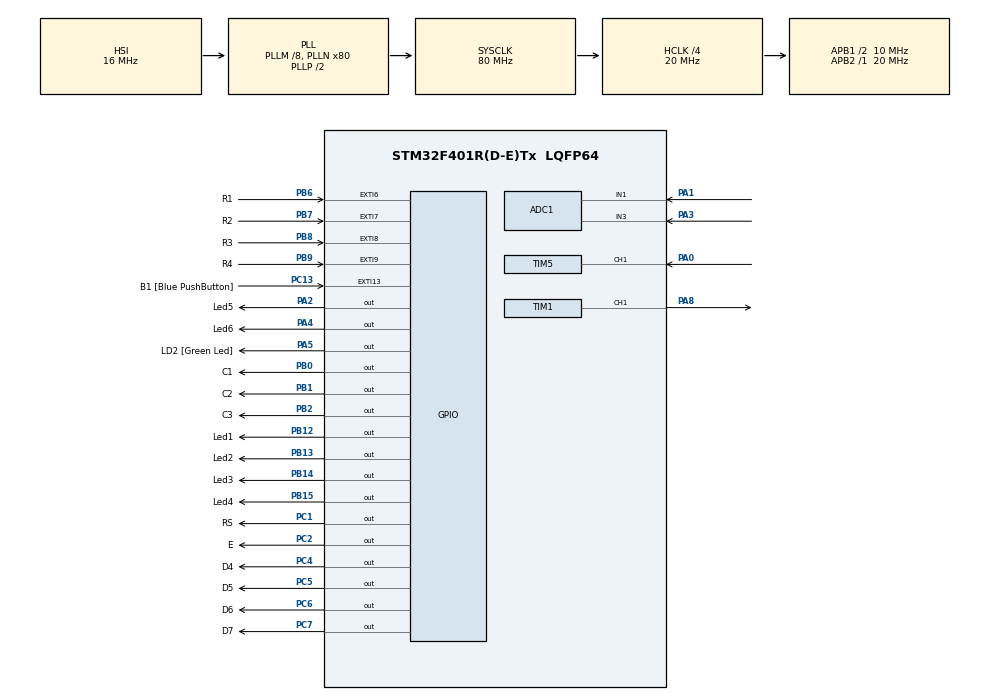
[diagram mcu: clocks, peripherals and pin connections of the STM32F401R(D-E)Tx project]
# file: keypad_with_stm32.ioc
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ADC1.Channel-1\#ChannelRegularConversion=ADC_CHANNEL_1
ADC1.NbrOfConversionFlag=1
ADC1.Rank-1\#ChannelRegularConversion=1
ADC1.SamplingTime-1\#ChannelRegularConversion=ADC_SAMPLETIME_480CYCLES
ADC1.master=1
Mcu.Family=STM32F4
Mcu.Name=STM32F401R(D-E)Tx
Mcu.Package=LQFP64
NVIC.ADC_IRQn=true\:0\:0\:false\:false\:true\:true\:true\:true
NVIC.EXTI9_5_IRQn=true\:4\:0\:true\:false\:true\:true\:true\:true
NVIC.PriorityGroup=NVIC_PRIORITYGROUP_4
NVIC.TIM1_UP_TIM10_IRQn=true\:0\:0\:false\:false\:true\:true\:true\:true
NVIC.TIM5_IRQn=true\:0\:0\:false\:false\:true\:true\:true\:true
PA0-WKUP.Signal=S_TIM5_CH1
PA1.Signal=ADCx_IN1
PA13.GPIO_Label=TMS
PA13.Mode=Serial_Wire
PA13.Signal=SYS_JTMS-SWDIO
PA14.GPIO_Label=TCK
PA14.Mode=Serial_Wire
PA14.Signal=SYS_JTCK-SWCLK
PA2.GPIO_Label=Led5
PA2.Signal=GPIO_Output
PA3.Signal=ADCx_IN3
PA4.GPIO_Label=Led6
PA4.Signal=GPIO_Output
PA5.GPIO_Label=LD2 [Green Led]
PA5.GPIO_Mode=GPIO_MODE_OUTPUT_PP
PA5.GPIO_PuPd=GPIO_NOPULL
PA5.GPIO_Speed=GPIO_SPEED_FREQ_LOW
PA5.Signal=GPIO_Output
PA8.Signal=S_TIM1_CH1
PB0.GPIO_Label=C1
PB0.Signal=GPIO_Output
PB1.GPIO_Label=C2
PB1.Signal=GPIO_Output
PB12.GPIO_Label=Led1
PB12.Signal=GPIO_Output
PB13.GPIO_Label=Led2
PB13.Signal=GPIO_Output
PB14.GPIO_Label=Led3
PB14.Signal=GPIO_Output
PB15.GPIO_Label=Led4
PB15.Signal=GPIO_Output
PB2.GPIO_Label=C3
PB2.Signal=GPIO_Output
PB3.GPIO_Label=SWO
PB3.Signal=SYS_JTDO-SWO
PB6.GPIO_Label=R1
PB6.Signal=GPXTI6
PB7.GPIO_Label=R2
PB7.Signal=GPXTI7
PB8.GPIO_Label=R3
PB8.Signal=GPXTI8
PB9.GPIO_Label=R4
PB9.Signal=GPXTI9
PC1.GPIO_Label=RS
PC1.Signal=GPIO_Output
PC13-ANTI_TAMP.GPIO_Label=B1 [Blue PushButton]
PC13-ANTI_TAMP.GPIO_ModeDefaultEXTI=GPIO_MODE_IT_FALLING
PC13-ANTI_TAMP.GPIO_PuPd=GPIO_NOPULL
PC13-ANTI_TAMP.Signal=GPXTI13
PC14-OSC32_IN.Mode=LSE-External-Oscillator
PC14-OSC32_IN.Signal=RCC_OSC32_IN
PC15-OSC32_OUT.Mode=LSE-External-Oscillator
PC15-OSC32_OUT.Signal=RCC_OSC32_OUT
PC2.GPIO_Label=E
PC2.Signal=GPIO_Output
PC4.GPIO_Label=D4
PC4.Signal=GPIO_Output
PC5.GPIO_Label=D5
PC5.Signal=GPIO_Output
PC6.GPIO_Label=D6
PC6.Signal=GPIO_Output
PC7.GPIO_Label=D7
PC7.Signal=GPIO_Output
PH0\ -\ OSC_IN.Mode=HSE-External-Clock-Source
PH0\ -\ OSC_IN.Signal=RCC_OSC_IN
PH1\ -\ OSC_OUT.Mode=HSE-External-Clock-Source
PH1\ -\ OSC_OUT.Signal=RCC_OSC_OUT
ProjectManager.HeapSize=0x200
ProjectManager.StackSize=0x400
ProjectManager.TargetToolchain=STM32CubeIDE
RCC.48MHZClocksFreq_Value=22857142.85714286
RCC.AHBCLKDivider=RCC_SYSCLK_DIV4
RCC.AHBFreq_Value=20000000
RCC.APB1CLKDivider=RCC_HCLK_DIV2
RCC.APB1Freq_Value=10000000
RCC.APB1TimFreq_Value=20000000
RCC.APB2Freq_Value=20000000
RCC.APB2TimFreq_Value=20000000
RCC.CortexFreq_Value=20000000
RCC.HCLKFreq_Value=20000000
RCC.HSE_VALUE=8000000
RCC.HSI_VALUE=16000000
RCC.PLLM=8
RCC.PLLN=80
RCC.PLLQ=7
RCC.SYSCLKFreq_VALUE=80000000
RCC.SYSCLKSource=RCC_SYSCLKSOURCE_PLLCLK
RCC.VCOOutputFreq_Value=160000000
SH.ADCx_IN1.0=ADC1_IN1,IN1
SH.ADCx_IN3.0=ADC1_IN3,IN3
SH.S_TIM1_CH1.0=TIM1_CH1,PWM Generation1 CH1
SH.S_TIM5_CH1.0=TIM5_CH1,Input_Capture1_from_TI1
TIM1.Channel-PWM\ Generation1\ CH1=TIM_CHANNEL_1
TIM1.CounterMode=TIM_COUNTERMODE_UP
TIM1.OCMode_PWM-PWM\ Generation1\ CH1=TIM_OCMODE_PWM1
TIM1.Period=2000
TIM1.Prescaler=0
TIM1.Pulse-PWM\ Generation1\ CH1=500
TIM2.Period=25000
TIM2.Prescaler=99
TIM3.Period=25000
TIM3.Prescaler=99
TIM5.Channel-Input_Capture1_from_TI1=TIM_CHANNEL_1
TIM5.Period=25000
TIM5.Prescaler=99
VP_TIM1_VS_ClockSourceINT.Mode=Internal
VP_TIM2_VS_ClockSourceINT.Mode=Internal
VP_TIM3_VS_ClockSourceINT.Mode=Internal
VP_TIM5_VS_ClockSourceINT.Mode=Internal
board=NUCLEO-F401RE

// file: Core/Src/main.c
/* USER CODE BEGIN Header */
/**
 ******************************************************************************
 * @file           : main.c
 * @brief          : Main program body
 ******************************************************************************
 * @attention
 *
 * Copyright (c) 2023 STMicroelectronics.
 * All rights reserved.
 *
 * This software is licensed under terms that can be found in the LICENSE file
 * in the root directory of this software component.
 * If no LICENSE file comes with this software, it is provided AS-IS.
 *
 ******************************************************************************
 */
/* USER CODE END Header */
#include "main.h"

/* USER CODE BEGIN Includes */
#include "lcd.h"
#include <string.h>
/* USER CODE END Includes */

ADC_HandleTypeDef hadc1;

TIM_HandleTypeDef htim1;
TIM_HandleTypeDef htim2;
TIM_HandleTypeDef htim3;
TIM_HandleTypeDef htim5;

void SystemClock_Config(void);
static void MX_GPIO_Init(void);
static void MX_TIM1_Init(void);
static void MX_TIM5_Init(void);
static void MX_TIM2_Init(void);
static void MX_TIM3_Init(void);
static void MX_ADC1_Init(void);

/* USER CODE BEGIN 0 */
GPIO_InitTypeDef GPIO_InitStructPrivate = {0};
uint32_t previousMillis = 0;
uint32_t currentMillis =0;
char text[2];
int i=0;
char code1[]="1234";
char code2[]="0000";
int a1,a2;
int d3=0;
int d4=0;
int d5=0;
float Fr;
float T;
int I;
uint32_t C1;
uint32_t C2;
Lcd_HandleTypeDef lcd;
int redval;
float ve;
int adc_val1;
int adc_val2;
float Vn;
int Temp;
void ADC_Select_CH1(void){
	  ADC_ChannelConfTypeDef sConfig = {0};
sConfig.Channel = ADC_CHANNEL_1;
sConfig.Rank = 1;
sConfig.SamplingTime = ADC_SAMPLETIME_480CYCLES;
if (HAL_ADC_ConfigChannel(&hadc1, &sConfig) != HAL_OK)
{
  Error_Handler();
}
}
void ADC_Select_CH3(void){
	  ADC_ChannelConfTypeDef sConfig = {0};
sConfig.Channel = ADC_CHANNEL_3;
sConfig.Rank = 1;
sConfig.SamplingTime = ADC_SAMPLETIME_480CYCLES;
if (HAL_ADC_ConfigChannel(&hadc1, &sConfig) != HAL_OK)
{
  Error_Handler();
}
}

/* USER CODE END 0 */

int main(void)
{

  /* MCU Configuration--------------------------------------------------------*/

  /* Reset of all peripherals, Initializes the Flash interface and the Systick. */
  HAL_Init();

  /* Configure the system clock */
  SystemClock_Config();

  /* Initialize all configured peripherals */
  MX_GPIO_Init();
  MX_TIM1_Init();
  MX_TIM5_Init();
  MX_TIM2_Init();
  MX_TIM3_Init();
  MX_ADC1_Init();
  /* USER CODE BEGIN 2 */
	HAL_GPIO_WritePin(GPIOB, GPIO_PIN_12, 0);
	HAL_GPIO_WritePin(GPIOB, GPIO_PIN_13, 0);
	HAL_GPIO_WritePin(GPIOB, GPIO_PIN_14, 0);
	HAL_GPIO_WritePin(GPIOB, GPIO_PIN_15, 0);
	HAL_GPIO_WritePin(GPIOA, GPIO_PIN_2, 0);
	HAL_GPIO_WritePin(GPIOA, GPIO_PIN_4, 0);
	HAL_Delay(200);

	HAL_GPIO_WritePin(GPIOB, GPIO_PIN_12, 1);
	HAL_GPIO_WritePin(GPIOB, GPIO_PIN_13, 1);
	HAL_GPIO_WritePin(GPIOB, GPIO_PIN_14, 1);
	HAL_GPIO_WritePin(GPIOB, GPIO_PIN_15, 1);
	HAL_GPIO_WritePin(GPIOA, GPIO_PIN_2, 0);
	HAL_GPIO_WritePin(GPIOA, GPIO_PIN_4, 1);

	HAL_GPIO_WritePin(GPIOB, C1_Pin, 1);
	HAL_GPIO_WritePin(GPIOB, C2_Pin, 1);
	HAL_GPIO_WritePin(GPIOB, C3_Pin, 1);

	Lcd_PortType ports[] = {D4_GPIO_Port, D5_GPIO_Port, D6_GPIO_Port, D7_GPIO_Port };
	Lcd_PinType pins[]= {D4_Pin, D5_Pin, D6_Pin, D7_Pin};

	lcd = Lcd_create(ports, pins, RS_GPIO_Port, RS_Pin, E_GPIO_Port, E_Pin, LCD_4_BIT_MODE);
	Lcd_cursor(&lcd, 0,2);
	Lcd_string(&lcd, "Keypad test");
	Lcd_cursor (&lcd, 1,0);
	Lcd_string(&lcd, "key:");

	HAL_TIM_Base_Start_IT(&htim1);
	HAL_TIM_Base_Start_IT(&htim2);
	HAL_TIM_Base_Start_IT(&htim3);
	int cnt;

	HAL_TIM_Base_Start_IT(&htim5);
	HAL_TIM_IC_Start_IT(&htim5, TIM_CHANNEL_1);

	HAL_TIM_PWM_Start(&htim1,TIM_CHANNEL_1);

	//TIM1 ->CNT =1;

  /* USER CODE END 2 */

  /* Infinite loop */
	while (1)
	{

    /* USER CODE BEGIN 3 */
		/*if(a1==1)
		    { a1=0;
			  Lcd_cursor (&lcd, 2,0);
			   Lcd_string(&lcd, "code correct");
		    }
		    if(a2==1)
		        { a2=0;
		    	  Lcd_cursor (&lcd, 2,0);
		    	   Lcd_string(&lcd, "code incorrect");
		        }
		    cnt = TIM1 -> CNT;
	    	  Lcd_cursor (&lcd, 3,0);
	    	   Lcd_int(&lcd, cnt); */
		//Lcd_cursor (&lcd, 2,0);
		//Lcd_float(&lcd, Fr);
		// TIM1 -> CCR1 =1500;
		HAL_ADC_Start(&hadc1);
		HAL_ADC_PollForConversion(&hadc1, 100);
		redval= HAL_ADC_GetValue(&hadc1);
		HAL_Delay(200);
		ve=redval*(3.6/4095);
		Lcd_cursor (&lcd, 2,0);
		Lcd_float(&lcd, ve);
		TIM1 -> CCR1 =redval*0.4884;

		ADC_Select_CH1();
        HAL_ADC_Start(&hadc1);
        HAL_ADC_PollForConversion(&hadc1, 100);
        adc_val1= HAL_ADC_GetValue(&hadc1);
		HAL_ADC_Stop(&hadc1);
		Vn=adc_val1*(3.6/4095);
		Lcd_cursor (&lcd, 2,0);
		Lcd_float(&lcd, Vn);

		ADC_Select_CH3();
        HAL_ADC_Start(&hadc1);
        HAL_ADC_PollForConversion(&hadc1, 100);
        adc_val2= HAL_ADC_GetValue(&hadc1);
		HAL_ADC_Stop(&hadc1);

		Temp= adc_val2*(3.6/4095)*100;
		Lcd_cursor (&lcd, 3,0);
		Lcd_float(&lcd, Temp);

	}
  /* USER CODE END 3 */
}

void SystemClock_Config(void)
{
  RCC_OscInitTypeDef RCC_OscInitStruct = {0};
  RCC_ClkInitTypeDef RCC_ClkInitStruct = {0};

  /** Configure the main internal regulator output voltage
  */
  __HAL_RCC_PWR_CLK_ENABLE();
  __HAL_PWR_VOLTAGESCALING_CONFIG(PWR_REGULATOR_VOLTAGE_SCALE2);

  /** Initializes the RCC Oscillators according to the specified parameters
  * in the RCC_OscInitTypeDef structure.
  */
  RCC_OscInitStruct.OscillatorType = RCC_OSCILLATORTYPE_HSI;
  RCC_OscInitStruct.HSIState = RCC_HSI_ON;
  RCC_OscInitStruct.HSICalibrationValue = RCC_HSICALIBRATION_DEFAULT;
  RCC_OscInitStruct.PLL.PLLState = RCC_PLL_ON;
  RCC_OscInitStruct.PLL.PLLSource = RCC_PLLSOURCE_HSI;
  RCC_OscInitStruct.PLL.PLLM = 8;
  RCC_OscInitStruct.PLL.PLLN = 80;
  RCC_OscInitStruct.PLL.PLLP = RCC_PLLP_DIV2;
  RCC_OscInitStruct.PLL.PLLQ = 7;
  if (HAL_RCC_OscConfig(&RCC_OscInitStruct) != HAL_OK)
  {
    Error_Handler();
  }

  /** Initializes the CPU, AHB and APB buses clocks
  */
  RCC_ClkInitStruct.ClockType = RCC_CLOCKTYPE_HCLK|RCC_CLOCKTYPE_SYSCLK
                              |RCC_CLOCKTYPE_PCLK1|RCC_CLOCKTYPE_PCLK2;
  RCC_ClkInitStruct.SYSCLKSource = RCC_SYSCLKSOURCE_PLLCLK;
  RCC_ClkInitStruct.AHBCLKDivider = RCC_SYSCLK_DIV4;
  RCC_ClkInitStruct.APB1CLKDivider = RCC_HCLK_DIV2;
  RCC_ClkInitStruct.APB2CLKDivider = RCC_HCLK_DIV1;

  if (HAL_RCC_ClockConfig(&RCC_ClkInitStruct, FLASH_LATENCY_0) != HAL_OK)
  {
    Error_Handler();
  }
}

static void MX_ADC1_Init(void)
{

  ADC_ChannelConfTypeDef sConfig = {0};

  /** Configure the global features of the ADC (Clock, Resolution, Data Alignment and number of conversion)
  */
  hadc1.Instance = ADC1;
  hadc1.Init.ClockPrescaler = ADC_CLOCK_SYNC_PCLK_DIV2;
  hadc1.Init.Resolution = ADC_RESOLUTION_12B;
  hadc1.Init.ScanConvMode = DISABLE;
  hadc1.Init.ContinuousConvMode = DISABLE;
  hadc1.Init.DiscontinuousConvMode = DISABLE;
  hadc1.Init.ExternalTrigConvEdge = ADC_EXTERNALTRIGCONVEDGE_NONE;
  hadc1.Init.ExternalTrigConv = ADC_SOFTWARE_START;
  hadc1.Init.DataAlign = ADC_DATAALIGN_RIGHT;
  hadc1.Init.NbrOfConversion = 1;
  hadc1.Init.DMAContinuousRequests = DISABLE;
  hadc1.Init.EOCSelection = ADC_EOC_SINGLE_CONV;
  if (HAL_ADC_Init(&hadc1) != HAL_OK)
  {
    Error_Handler();
  }

  /** Configure for the selected ADC regular channel its corresponding rank in the sequencer and its sample time.
  */
  sConfig.Channel = ADC_CHANNEL_1;
  sConfig.Rank = 1;
  sConfig.SamplingTime = ADC_SAMPLETIME_480CYCLES;
  if (HAL_ADC_ConfigChannel(&hadc1, &sConfig) != HAL_OK)
  {
    Error_Handler();
  }

}

static void MX_TIM1_Init(void)
{

  TIM_ClockConfigTypeDef sClockSourceConfig = {0};
  TIM_MasterConfigTypeDef sMasterConfig = {0};
  TIM_OC_InitTypeDef sConfigOC = {0};
  TIM_BreakDeadTimeConfigTypeDef sBreakDeadTimeConfig = {0};

  htim1.Instance = TIM1;
  htim1.Init.Prescaler = 0;
  htim1.Init.CounterMode = TIM_COUNTERMODE_UP;
  htim1.Init.Period = 2000;
  htim1.Init.ClockDivision = TIM_CLOCKDIVISION_DIV1;
  htim1.Init.RepetitionCounter = 0;
  htim1.Init.AutoReloadPreload = TIM_AUTORELOAD_PRELOAD_DISABLE;
  if (HAL_TIM_Base_Init(&htim1) != HAL_OK)
  {
    Error_Handler();
  }
  sClockSourceConfig.ClockSource = TIM_CLOCKSOURCE_INTERNAL;
  if (HAL_TIM_ConfigClockSource(&htim1, &sClockSourceConfig) != HAL_OK)
  {
    Error_Handler();
  }
  if (HAL_TIM_PWM_Init(&htim1) != HAL_OK)
  {
    Error_Handler();
  }
  sMasterConfig.MasterOutputTrigger = TIM_TRGO_RESET;
  sMasterConfig.MasterSlaveMode = TIM_MASTERSLAVEMODE_DISABLE;
  if (HAL_TIMEx_MasterConfigSynchronization(&htim1, &sMasterConfig) != HAL_OK)
  {
    Error_Handler();
  }
  sConfigOC.OCMode = TIM_OCMODE_PWM1;
  sConfigOC.Pulse = 500;
  sConfigOC.OCPolarity = TIM_OCPOLARITY_HIGH;
  sConfigOC.OCNPolarity = TIM_OCNPOLARITY_HIGH;
  sConfigOC.OCFastMode = TIM_OCFAST_DISABLE;
  sConfigOC.OCIdleState = TIM_OCIDLESTATE_RESET;
  sConfigOC.OCNIdleState = TIM_OCNIDLESTATE_RESET;
  if (HAL_TIM_PWM_ConfigChannel(&htim1, &sConfigOC, TIM_CHANNEL_1) != HAL_OK)
  {
    Error_Handler();
  }
  sBreakDeadTimeConfig.OffStateRunMode = TIM_OSSR_DISABLE;
  sBreakDeadTimeConfig.OffStateIDLEMode = TIM_OSSI_DISABLE;
  sBreakDeadTimeConfig.LockLevel = TIM_LOCKLEVEL_OFF;
  sBreakDeadTimeConfig.DeadTime = 0;
  sBreakDeadTimeConfig.BreakState = TIM_BREAK_DISABLE;
  sBreakDeadTimeConfig.BreakPolarity = TIM_BREAKPOLARITY_HIGH;
  sBreakDeadTimeConfig.AutomaticOutput = TIM_AUTOMATICOUTPUT_DISABLE;
  if (HAL_TIMEx_ConfigBreakDeadTime(&htim1, &sBreakDeadTimeConfig) != HAL_OK)
  {
    Error_Handler();
  }
  HAL_TIM_MspPostInit(&htim1);

}

static void MX_TIM2_Init(void)
{

  TIM_ClockConfigTypeDef sClockSourceConfig = {0};
  TIM_MasterConfigTypeDef sMasterConfig = {0};

  htim2.Instance = TIM2;
  htim2.Init.Prescaler = 99;
  htim2.Init.CounterMode = TIM_COUNTERMODE_UP;
  htim2.Init.Period = 25000;
  htim2.Init.ClockDivision = TIM_CLOCKDIVISION_DIV1;
  htim2.Init.AutoReloadPreload = TIM_AUTORELOAD_PRELOAD_DISABLE;
  if (HAL_TIM_Base_Init(&htim2) != HAL_OK)
  {
    Error_Handler();
  }
  sClockSourceConfig.ClockSource = TIM_CLOCKSOURCE_INTERNAL;
  if (HAL_TIM_ConfigClockSource(&htim2, &sClockSourceConfig) != HAL_OK)
  {
    Error_Handler();
  }
  sMasterConfig.MasterOutputTrigger = TIM_TRGO_RESET;
  sMasterConfig.MasterSlaveMode = TIM_MASTERSLAVEMODE_DISABLE;
  if (HAL_TIMEx_MasterConfigSynchronization(&htim2, &sMasterConfig) != HAL_OK)
  {
    Error_Handler();
  }

}

static void MX_TIM3_Init(void)
{

  TIM_ClockConfigTypeDef sClockSourceConfig = {0};
  TIM_MasterConfigTypeDef sMasterConfig = {0};

  htim3.Instance = TIM3;
  htim3.Init.Prescaler = 99;
  htim3.Init.CounterMode = TIM_COUNTERMODE_UP;
  htim3.Init.Period = 25000;
  htim3.Init.ClockDivision = TIM_CLOCKDIVISION_DIV1;
  htim3.Init.AutoReloadPreload = TIM_AUTORELOAD_PRELOAD_DISABLE;
  if (HAL_TIM_Base_Init(&htim3) != HAL_OK)
  {
    Error_Handler();
  }
  sClockSourceConfig.ClockSource = TIM_CLOCKSOURCE_INTERNAL;
  if (HAL_TIM_ConfigClockSource(&htim3, &sClockSourceConfig) != HAL_OK)
  {
    Error_Handler();
  }
  sMasterConfig.MasterOutputTrigger = TIM_TRGO_RESET;
  sMasterConfig.MasterSlaveMode = TIM_MASTERSLAVEMODE_DISABLE;
  if (HAL_TIMEx_MasterConfigSynchronization(&htim3, &sMasterConfig) != HAL_OK)
  {
    Error_Handler();
  }

}

static void MX_TIM5_Init(void)
{

  TIM_ClockConfigTypeDef sClockSourceConfig = {0};
  TIM_MasterConfigTypeDef sMasterConfig = {0};
  TIM_IC_InitTypeDef sConfigIC = {0};

  htim5.Instance = TIM5;
  htim5.Init.Prescaler = 99;
  htim5.Init.CounterMode = TIM_COUNTERMODE_UP;
  htim5.Init.Period = 25000;
  htim5.Init.ClockDivision = TIM_CLOCKDIVISION_DIV1;
  htim5.Init.AutoReloadPreload = TIM_AUTORELOAD_PRELOAD_DISABLE;
  if (HAL_TIM_Base_Init(&htim5) != HAL_OK)
  {
    Error_Handler();
  }
  sClockSourceConfig.ClockSource = TIM_CLOCKSOURCE_INTERNAL;
  if (HAL_TIM_ConfigClockSource(&htim5, &sClockSourceConfig) != HAL_OK)
  {
    Error_Handler();
  }
  if (HAL_TIM_IC_Init(&htim5) != HAL_OK)
  {
    Error_Handler();
  }
  sMasterConfig.MasterOutputTrigger = TIM_TRGO_RESET;
  sMasterConfig.MasterSlaveMode = TIM_MASTERSLAVEMODE_DISABLE;
  if (HAL_TIMEx_MasterConfigSynchronization(&htim5, &sMasterConfig) != HAL_OK)
  {
    Error_Handler();
  }
  sConfigIC.ICPolarity = TIM_INPUTCHANNELPOLARITY_RISING;
  sConfigIC.ICSelection = TIM_ICSELECTION_DIRECTTI;
  sConfigIC.ICPrescaler = TIM_ICPSC_DIV1;
  sConfigIC.ICFilter = 0;
  if (HAL_TIM_IC_ConfigChannel(&htim5, &sConfigIC, TIM_CHANNEL_1) != HAL_OK)
  {
    Error_Handler();
  }

}

static void MX_GPIO_Init(void)
{
  GPIO_InitTypeDef GPIO_InitStruct = {0};

  /* GPIO Ports Clock Enable */
  __HAL_RCC_GPIOC_CLK_ENABLE();
  __HAL_RCC_GPIOH_CLK_ENABLE();
  __HAL_RCC_GPIOA_CLK_ENABLE();
  __HAL_RCC_GPIOB_CLK_ENABLE();

  /*Configure GPIO pin Output Level */
  HAL_GPIO_WritePin(GPIOC, RS_Pin|E_Pin|D4_Pin|D5_Pin
                          |D6_Pin|D7_Pin, GPIO_PIN_RESET);

  /*Configure GPIO pin Output Level */
  HAL_GPIO_WritePin(GPIOA, Led5_Pin|Led6_Pin|LD2_Pin, GPIO_PIN_RESET);

  /*Configure GPIO pin Output Level */
  HAL_GPIO_WritePin(GPIOB, C1_Pin|C2_Pin|C3_Pin|Led1_Pin
                          |Led2_Pin|Led3_Pin|Led4_Pin, GPIO_PIN_RESET);

  /*Configure GPIO pin : B1_Pin */
  GPIO_InitStruct.Pin = B1_Pin;
  GPIO_InitStruct.Mode = GPIO_MODE_IT_FALLING;
  GPIO_InitStruct.Pull = GPIO_NOPULL;
  HAL_GPIO_Init(B1_GPIO_Port, &GPIO_InitStruct);

  /*Configure GPIO pins : RS_Pin E_Pin D4_Pin D5_Pin
                           D6_Pin D7_Pin */
  GPIO_InitStruct.Pin = RS_Pin|E_Pin|D4_Pin|D5_Pin
                          |D6_Pin|D7_Pin;
  GPIO_InitStruct.Mode = GPIO_MODE_OUTPUT_PP;
  GPIO_InitStruct.Pull = GPIO_NOPULL;
  GPIO_InitStruct.Speed = GPIO_SPEED_FREQ_LOW;
  HAL_GPIO_Init(GPIOC, &GPIO_InitStruct);

  /*Configure GPIO pins : Led5_Pin Led6_Pin LD2_Pin */
  GPIO_InitStruct.Pin = Led5_Pin|Led6_Pin|LD2_Pin;
  GPIO_InitStruct.Mode = GPIO_MODE_OUTPUT_PP;
  GPIO_InitStruct.Pull = GPIO_NOPULL;
  GPIO_InitStruct.Speed = GPIO_SPEED_FREQ_LOW;
  HAL_GPIO_Init(GPIOA, &GPIO_InitStruct);

  /*Configure GPIO pins : C1_Pin C2_Pin C3_Pin Led1_Pin
                           Led2_Pin Led3_Pin Led4_Pin */
  GPIO_InitStruct.Pin = C1_Pin|C2_Pin|C3_Pin|Led1_Pin
                          |Led2_Pin|Led3_Pin|Led4_Pin;
  GPIO_InitStruct.Mode = GPIO_MODE_OUTPUT_PP;
  GPIO_InitStruct.Pull = GPIO_NOPULL;
  GPIO_InitStruct.Speed = GPIO_SPEED_FREQ_LOW;
  HAL_GPIO_Init(GPIOB, &GPIO_InitStruct);

  /*Configure GPIO pins : R1_Pin R2_Pin R3_Pin R4_Pin */
  GPIO_InitStruct.Pin = R1_Pin|R2_Pin|R3_Pin|R4_Pin;
  GPIO_InitStruct.Mode = GPIO_MODE_IT_RISING;
  GPIO_InitStruct.Pull = GPIO_NOPULL;
  HAL_GPIO_Init(GPIOB, &GPIO_InitStruct);

  /* EXTI interrupt init*/
  HAL_NVIC_SetPriority(EXTI9_5_IRQn, 4, 0);
  HAL_NVIC_EnableIRQ(EXTI9_5_IRQn);

}

/* USER CODE BEGIN 4 */
void HAL_GPIO_EXTI_Callback(uint16_t GPIO_Pin)
{ currentMillis = HAL_GetTick();
if (currentMillis-previousMillis > 10)
{ /*Configure GPIO pins: R1 R2 R3 R4 to GPIO_INPUT*/
	GPIO_InitStructPrivate. Pin = R1_Pin | R2_Pin|R3_Pin|R4_Pin;
	GPIO_InitStructPrivate.Mode = GPIO_MODE_INPUT;
	GPIO_InitStructPrivate. Pull = GPIO_NOPULL;
	GPIO_InitStructPrivate.Speed = GPIO_SPEED_FREQ_LOW;
	HAL_GPIO_Init(GPIOB, &GPIO_InitStructPrivate);
	HAL_GPIO_WritePin (GPIOB, C1_Pin, 1);
	HAL_GPIO_WritePin (GPIOB, C2_Pin, 0);
	HAL_GPIO_WritePin (GPIOB, C3_Pin, 0);
	if((GPIO_Pin == R1_Pin) && (HAL_GPIO_ReadPin (GPIOB, R1_Pin)))
	{HAL_GPIO_WritePin (Led1_GPIO_Port,Led1_Pin,0); //D1 on

	strcpy(text,"1");
	code2[i]='1';
	i++;

	}

	if((GPIO_Pin == R2_Pin) && (HAL_GPIO_ReadPin (GPIOB, R2_Pin)))
	{HAL_GPIO_WritePin (Led2_GPIO_Port,Led2_Pin,1); //D2 off

	strcpy(text,"4");
	code2[i]='4';
	i++;

	}

	if((GPIO_Pin == R3_Pin) && (HAL_GPIO_ReadPin (GPIOB, R3_Pin)))
	{HAL_GPIO_WritePin (Led4_GPIO_Port,Led4_Pin,0); //D4 on

	strcpy(text,"7");
	code2[i]='7';
	i++;

	}

	if((GPIO_Pin == R4_Pin) && (HAL_GPIO_ReadPin (GPIOB, R4_Pin)))
	{HAL_GPIO_TogglePin(Led1_GPIO_Port, Led1_Pin); //D1 change
	HAL_GPIO_TogglePin(Led2_GPIO_Port, Led2_Pin);	//D2 change
	i++;

	}
	HAL_GPIO_WritePin (GPIOB, C1_Pin, 0);
	HAL_GPIO_WritePin (GPIOB, C2_Pin, 1);
	HAL_GPIO_WritePin (GPIOB, C3_Pin, 0);
	if((GPIO_Pin == R1_Pin) && (HAL_GPIO_ReadPin(GPIOB, R1_Pin)))
	{HAL_GPIO_WritePin (Led1_GPIO_Port,Led1_Pin, 1); //D1 off

	strcpy(text,"2");
	code2[i]='2';
	i++;

	}
	if((GPIO_Pin == R2_Pin) && (HAL_GPIO_ReadPin (GPIOB, R2_Pin)))
	{HAL_GPIO_WritePin (Led3_GPIO_Port,Led3_Pin,0); //D3 on

	strcpy(text,"5");
	code2[i]='5';
	i++;

	}

	if((GPIO_Pin == R3_Pin) && (HAL_GPIO_ReadPin (GPIOB, R3_Pin)))
	{HAL_GPIO_WritePin (Led4_GPIO_Port,Led4_Pin,1); //D4 off

	strcpy(text,"8");
	code2[i]='8';
	i++;

	}

	if((GPIO_Pin == R4_Pin) && (HAL_GPIO_ReadPin (GPIOB, R4_Pin)))
	{
		HAL_GPIO_WritePin (Led1_GPIO_Port,Led1_Pin,0); // D1 on
		HAL_GPIO_WritePin (Led2_GPIO_Port,Led2_Pin,0); // D2 on
		HAL_GPIO_WritePin (Led3_GPIO_Port,Led3_Pin,0); // D3 on
		HAL_GPIO_WritePin (Led4_GPIO_Port,Led4_Pin,0); // D4 on

		strcpy(text,"0");
		code2[i]='0';
		i++;

	}

	HAL_GPIO_WritePin (GPIOB, C1_Pin, 0);
	HAL_GPIO_WritePin (GPIOB, C2_Pin, 0);
	HAL_GPIO_WritePin (GPIOB, C3_Pin, 1);
	if((GPIO_Pin == R1_Pin) && (HAL_GPIO_ReadPin(GPIOB, R1_Pin)))
	{HAL_GPIO_WritePin (Led2_GPIO_Port,Led2_Pin, 0); //D2 on

	strcpy(text,"3");
	code2[i]='3';
	i++;

	}
	if((GPIO_Pin == R2_Pin) && (HAL_GPIO_ReadPin (GPIOB, R2_Pin)))
	{HAL_GPIO_WritePin (Led3_GPIO_Port,Led3_Pin,1); //D3 off
	strcpy(text,"6");
	code2[i]='6';
	i++;

	}

	if((GPIO_Pin == R3_Pin) && (HAL_GPIO_ReadPin (GPIOB, R3_Pin)))
	{
		HAL_GPIO_WritePin (Led1_GPIO_Port,Led1_Pin,1); // D1 off
		HAL_GPIO_WritePin (Led2_GPIO_Port,Led2_Pin,1); // D2 off
		HAL_GPIO_WritePin (Led3_GPIO_Port,Led3_Pin,1); // D3 off
		HAL_GPIO_WritePin (Led4_GPIO_Port,Led4_Pin,1); // D4 off

		strcpy(text,"9");
		code2[i]='9';
		i++;

	}
	if((GPIO_Pin == R4_Pin) && (HAL_GPIO_ReadPin (GPIOB, R4_Pin)))
	{HAL_GPIO_TogglePin(Led3_GPIO_Port, Led3_Pin); //D3 change
	HAL_GPIO_TogglePin(Led4_GPIO_Port, Led4_Pin);	//D4 change
	if(strcmp(code1,code2)==0)
	{
		HAL_GPIO_WritePin(GPIOA,Led5_Pin,0);
		HAL_Delay(1000);
		HAL_GPIO_WritePin(GPIOA,Led5_Pin,1);
		a1=1;
	}
	else{
		a2=1;
	}

	}

	HAL_GPIO_WritePin(GPIOB,C1_Pin, 1);
	HAL_GPIO_WritePin(GPIOB, C2_Pin, 1);
	HAL_GPIO_WritePin(GPIOB, C3_Pin, 1);

	Lcd_cursor (&lcd, 1,i+3);
	Lcd_string(&lcd, text);

	if (i==4)
	{
		i=0;}

	GPIO_InitStructPrivate.Mode = GPIO_MODE_IT_RISING;
	GPIO_InitStructPrivate. Pull = GPIO_PULLDOWN;
	HAL_GPIO_Init(GPIOB, &GPIO_InitStructPrivate);
	previousMillis = currentMillis;

}

}
void HAL_TIM_PeriodElapsedCallback(TIM_HandleTypeDef *htim){
	if (htim -> Instance == TIM1) {
		d3++;
		d4++;
		d5++;
		if (d3==2) {
			HAL_GPIO_TogglePin(Led3_GPIO_Port, Led3_Pin);
			d3=0;
		}
		if (d4==5) {
			HAL_GPIO_TogglePin(Led4_GPIO_Port, Led4_Pin);
			d4=0;
		}
		if (d5==10) {
			HAL_GPIO_TogglePin(Led5_GPIO_Port, Led5_Pin);
			d5=0;
		}
	}
	if (htim -> Instance == TIM1) {
		HAL_GPIO_TogglePin(Led3_GPIO_Port, Led3_Pin);
	}
	if (htim -> Instance == TIM2) {
		HAL_GPIO_TogglePin(Led4_GPIO_Port, Led4_Pin);
	}
	if (htim -> Instance == TIM3) {
		HAL_GPIO_TogglePin(Led5_GPIO_Port, Led5_Pin);
	}

	I++;
	if (I==1) {
		C1= TIM5 -> CCR1;
	}
	if (I==2) {
		I=0;
		C2= TIM5 -> CCR1;
		T=(C2 - C1)*0.4*(10^6);
		Fr=1/T;
	}

}
/* USER CODE END 4 */

void Error_Handler(void)
{
	__disable_irq();
	while (1)
	{
	}
}
